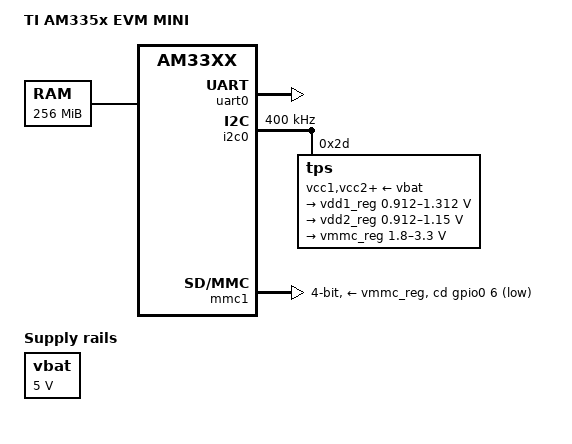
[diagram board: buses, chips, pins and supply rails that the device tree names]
// SPDX-License-Identifier: GPL-2.0
/*
 * Copyright (C) 2020 Texas Instruments Incorporated - http://www.ti.com/
 */
/dts-v1/;

#include "am33xx.dtsi"
#include <dt-bindings/interrupt-controller/irq.h>

/ {
	model = "TI AM335x EVM MINI";
	compatible = "ti,am335x-evm-mini", "ti,am335x-evm", "ti,am33xx";

	chosen {
		stdout-path = &uart0;
		tick-timer = &timer2;
	};

	cpus {
		cpu@0 {
			cpu0-supply = <&vdd1_reg>;
		};
	};

	memory {
		device_type = "memory";
		reg = <0x80000000 0x10000000>; /* 256 MB */
	};

	vbat: fixedregulator@0 {
		compatible = "regulator-fixed";
		regulator-name = "vbat";
		regulator-min-microvolt = <5000000>;
		regulator-max-microvolt = <5000000>;
		regulator-boot-on;
	};
};

&am33xx_pinmux {
	i2c0_pins: pinmux_i2c0_pins {
		pinctrl-single,pins = <
			0x188 (PIN_INPUT_PULLUP | MUX_MODE0)	/* i2c0_sda.i2c0_sda */
			0x18c (PIN_INPUT_PULLUP | MUX_MODE0)	/* i2c0_scl.i2c0_scl */
		>;
	};

	uart0_pins: pinmux_uart0_pins {
		pinctrl-single,pins = <
			0x170 (PIN_INPUT_PULLUP | MUX_MODE0)	/* uart0_rxd.uart0_rxd */
			0x174 (PIN_OUTPUT_PULLDOWN | MUX_MODE0)	/* uart0_txd.uart0_txd */
		>;
	};

	mmc1_pins: pinmux_mmc1_pins {
		pinctrl-single,pins = <
			0x160 (PIN_INPUT | MUX_MODE7) /* spi0_cs1.gpio0_6 */
		>;
	};
};

&uart0 {
	pinctrl-names = "default";
	pinctrl-0 = <&uart0_pins>;

	status = "okay";
};

&i2c0 {
	pinctrl-names = "default";
	pinctrl-0 = <&i2c0_pins>;

	status = "okay";
	clock-frequency = <400000>;

	tps: tps@2d {
		reg = <0x2d>;
	};
};

#include "tps65910.dtsi"

&tps {
	vcc1-supply = <&vbat>;
	vcc2-supply = <&vbat>;
	vcc3-supply = <&vbat>;
	vcc4-supply = <&vbat>;
	vcc5-supply = <&vbat>;
	vcc6-supply = <&vbat>;
	vcc7-supply = <&vbat>;
	vccio-supply = <&vbat>;

	regulators {
		vrtc_reg: regulator@0 {
			regulator-always-on;
		};

		vio_reg: regulator@1 {
			regulator-always-on;
		};

		vdd1_reg: regulator@2 {
			/* VDD_MPU voltage limits 0.95V - 1.26V with +/-4% tolerance */
			regulator-name = "vdd_mpu";
			regulator-min-microvolt = <912500>;
			regulator-max-microvolt = <1312500>;
			regulator-boot-on;
			regulator-always-on;
		};

		vdd2_reg: regulator@3 {
			/* VDD_CORE voltage limits 0.95V - 1.1V with +/-4% tolerance */
			regulator-name = "vdd_core";
			regulator-min-microvolt = <912500>;
			regulator-max-microvolt = <1150000>;
			regulator-boot-on;
			regulator-always-on;
		};

		vdd3_reg: regulator@4 {
			regulator-always-on;
		};

		vdig1_reg: regulator@5 {
			regulator-always-on;
		};

		vdig2_reg: regulator@6 {
			regulator-always-on;
		};

		vpll_reg: regulator@7 {
			regulator-always-on;
		};

		vdac_reg: regulator@8 {
			regulator-always-on;
		};

		vaux1_reg: regulator@9 {
			regulator-always-on;
		};

		vaux2_reg: regulator@10 {
			regulator-always-on;
		};

		vaux33_reg: regulator@11 {
			regulator-always-on;
		};

		vmmc_reg: regulator@12 {
			regulator-min-microvolt = <1800000>;
			regulator-max-microvolt = <3300000>;
			regulator-always-on;
		};
	};
};

&mmc1 {
	status = "okay";
	vmmc-supply = <&vmmc_reg>;
	bus-width = <4>;
	pinctrl-names = "default";
	pinctrl-0 = <&mmc1_pins>;
	cd-gpios = <&gpio0 6 GPIO_ACTIVE_LOW>;
};
